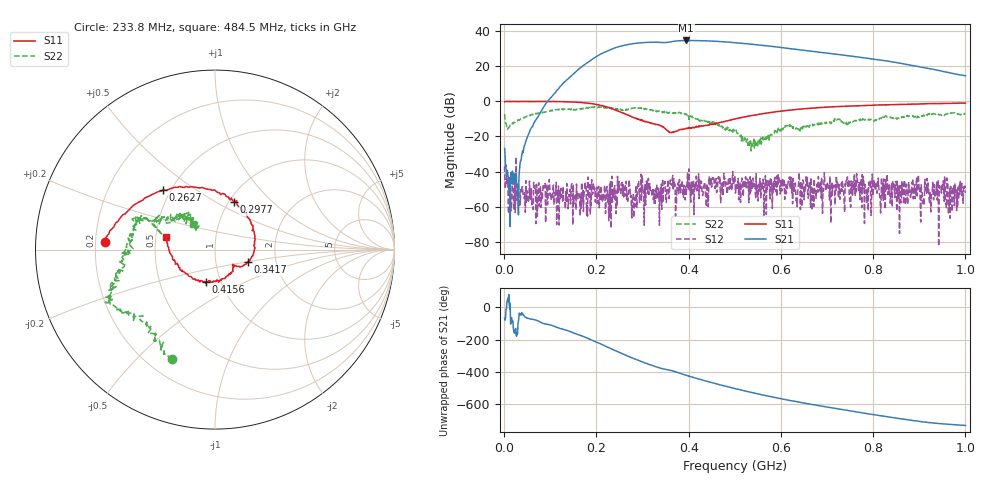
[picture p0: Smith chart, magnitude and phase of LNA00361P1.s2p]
! Created with skrf 1.9.0 (http://scikit-rf.org).
# Hz S RI R 50.0
!freq ReS11 ImS11 ReS21 ImS21 ReS12 ImS12 ReS22 ImS22
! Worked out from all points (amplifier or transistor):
!   1001 points, 1 MHz to 1 GHz, reference 50 ohm
!   highest |S21| = 34.8 dB at 394.6 MHz (marker M1)
!   |S21| within 3 dB of that: 256.7 MHz to 566.4 MHz (309.8 MHz wide, 75.3 % of centre) (the widest 1 of 2)
!   unconditionally stable (mu >= 1): start of sweep to 67.84 MHz; 246.1 MHz to 296.3 MHz; 299.9 MHz to end of sweep (the widest 3 of 29)
!   at 166.8 MHz: K = 5.45, MAG = 30.0 dB, |S12| = -61.2 dB
!   at 500.5 MHz: K = 1.51, MAG = 34.2 dB, |S12| = -43.2 dB
!   at 1 GHz: K = 5.36, MAG = 23.2 dB, |S12| = -52.2 dB
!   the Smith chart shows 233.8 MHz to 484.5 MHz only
!   S11 on the Smith chart (normalised r, x): 233.8 MHz: 0.24, +0.03; 262.7 MHz: 0.45, +0.37; 297.7 MHz: 1.06, +0.61; 341.7 MHz: 1.43, -0.20; 415.6 MHz: 0.85, -0.32; 484.5 MHz: 0.57, +0.08
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1000000  0.9819 0.00495  0.0175 -0.0421  -0.0141 -0.000721  0.3345 0.2857
1.08892e8  0.5147 -0.8502  -0.7703 -1.494  0.00127 -0.00084  0.4248 -0.3612
1.67833e8  -0.2478 -0.8957  -9.701 -0.6365  0.0038 0.00296  0.0523 -0.6322
2.06794e8  -0.6685 -0.4125  -15.78 14.76  0.0012 0.00014  -0.151 -0.6537
2.33767e8  -0.6132 0.0421  -6.053 30.84  0.00261 -0.00686  -0.239 -0.6096
2.62738e8  -0.2907 0.3319  17.08 36.63  -0.0041 0.00113  -0.4007 -0.3692
2.97703e8  0.1057 0.2642  42.97 19.52  -6.48e-05 -0.00152  -0.5705 -0.2641
3.17683e8  0.2132 0.1121  48.76 3.097  0.00196 0.00257  -0.5365 -0.1677
3.34666e8  0.2144 -0.0213  47.65 -10.42  -0.0033 0.000554  -0.5207 -0.0605
3.41659e8  0.1816 -0.0678  45.84 -14.89  -0.000475 -0.000683  -0.5059 -0.0301
3.7063e8  0.1021 -0.0908  41.79 -32.24  -0.00223 0.00278  -0.445 0.1423
3.94606e8  0.0512 -0.1609  27.61 -47.56  0.000742 0.00209  -0.3966 0.1775
4.15585e8  -0.0505 -0.1825  11.79 -53.33  0.0027 0.00454  -0.2602 0.186
4.46554e8  -0.1888 -0.117  -11.51 -51.84  -1.69e-05 0.0041  -0.1696 0.1617
4.84516e8  -0.271 0.0674  -32.34 -37.59  0.000562 0.00305  -0.1216 0.1414
5.005e8  -0.2725 0.1608  -37.81 -29.24  0.00589 -0.00358  -0.1048 0.0904
5.4046e8  -0.1802 0.3607  -41.53 -8.193  0.00377 -7.96e-06  -0.0644 0.0167
5.88412e8  0.0353 0.505  -34.32 11.37  0.00456 -0.00325  -0.1044 -0.09
6.67333e8  0.4163 0.489  -13.22 23.33  0.000322 -0.000705  -0.2057 -0.0498
7.55245e8  0.696 0.2581  4.112 18.9  0.000852 -0.00171  -0.2587 -0.00703
8.34166e8  0.8048 -0.00144  10.35 9.392  -0.00211 -0.00109  -0.369 -0.0258
1e9  0.7193 -0.5387  5.336 -0.9448  -0.00132 0.00208  -0.3539 0.2771
